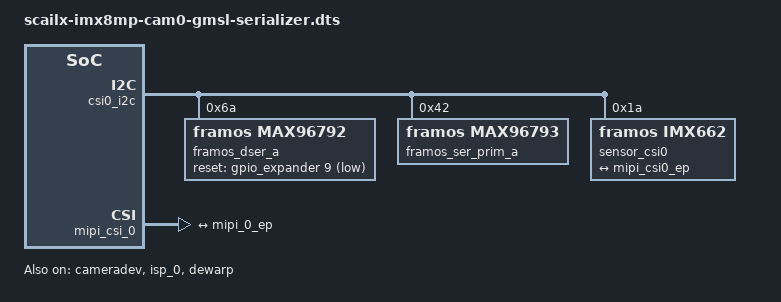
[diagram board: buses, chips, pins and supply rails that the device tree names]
// SPDX-License-Identifier: (GPL-2.0 OR MIT)
/*
 * Copyright (C) 2023 VideologyInc
 *
 */

/dts-v1/;
/plugin/;

#include <dt-bindings/gpio/gpio.h>

&{/chosen} {
	overlays {
		cam0-gmsl-imx662 = __TIMESTAMP__;
	};
};

&csi0_i2c {
	#address-cells = <1>;
	#size-cells = <0>;

	framos_dser_a: max96792_a@6a {
		compatible = "framos,max96792";
		reg = <0x6a>;
		csi-mode = "2x4";
		max-src = <1>;
		reset-gpios = <&gpio_expander 9 GPIO_ACTIVE_LOW>;
		status = "okay";
	};

	framos_ser_prim_a: max96793_prim_a@42 {
		compatible = "framos,max96793";
		reg = <0x42>;
		gmsl-dser-device = <&framos_dser_a>;
		is-prim-ser;
		status = "okay";
	};

	sensor_csi0: imx662_mipi@1a {
		compatible = "framos,imx662";
		reg = <0x1a>;
		def-addr = <0x1a>;
		clocks = <&clk_dummy>;
		clock-names = "csi_mclk";
		csi_id = <0>;
		mclk = <24000000>;
		mclk_source = <0>;
		status = "okay";
		// rst-gpios = <&gpio_expander 9 GPIO_ACTIVE_LOW>;

		gmsl = "gmsl";
		gmsl-ser-device = <&framos_ser_prim_a>;
		gmsl-dser-device = <&framos_dser_a>;

		gmsl-link {
			src-csi-port = "b";
			dst-csi-port = "a";
			serdes-csi-link = "a";
			csi-mode = "1x4";
			st-vc = <0>;
			vc-id = <0>;
			num-lanes = <4>;
			streams = "raw12";
		};

		port {
			mipi_0_ep: endpoint {
				remote-endpoint = <&mipi_csi0_ep>;
				data-lanes = <1 2 3 4>;
				clock-lanes = <0>;
				max-pixel-frequency = /bits/ 64 <500000000>;
			};
		};
	};
};

&mipi_csi_0 {
	status = "okay";
	#address-cells = <1>;
	#size-cells = <0>;

	port@0 {
		reg = <0>;
		mipi_csi0_ep: endpoint {
			remote-endpoint = <&mipi_0_ep>;
			data-lanes = <4>;
			csis-hs-settle = <13>;
			csis-clk-settle = <2>;
			csis-wclk;
		};
	};
};

&cameradev {
	status = "okay";
};

&isi_0 {
	status = "disabled";
};

&isp_0 {
	status = "okay";
};

&dewarp {
	status = "okay";
};
